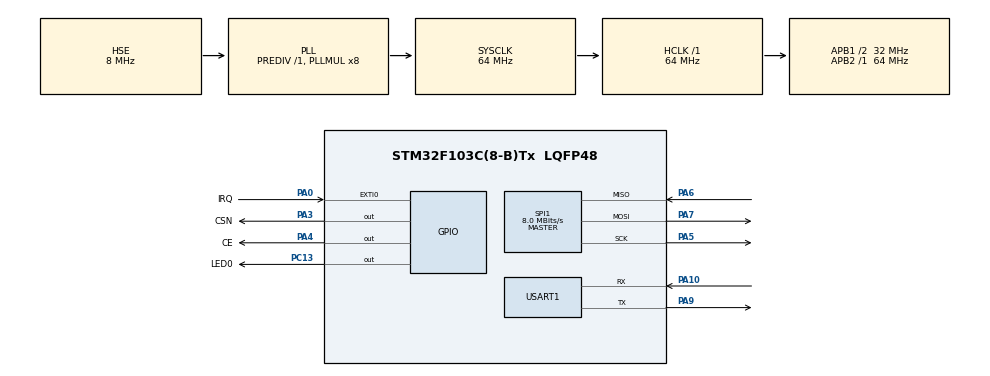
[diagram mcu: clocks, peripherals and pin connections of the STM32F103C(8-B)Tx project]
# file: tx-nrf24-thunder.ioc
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Mcu.Family=STM32F1
Mcu.Name=STM32F103C(8-B)Tx
Mcu.Package=LQFP48
NVIC.PriorityGroup=NVIC_PRIORITYGROUP_4
PA0-WKUP.GPIO_Label=IRQ
PA0-WKUP.GPIO_ModeDefaultEXTI=GPIO_MODE_IT_FALLING
PA0-WKUP.Signal=GPXTI0
PA10.Mode=Asynchronous
PA10.Signal=USART1_RX
PA3.GPIO_Label=CSN
PA3.Signal=GPIO_Output
PA4.GPIO_Label=CE
PA4.Signal=GPIO_Output
PA5.Mode=Full_Duplex_Master
PA5.Signal=SPI1_SCK
PA6.Mode=Full_Duplex_Master
PA6.Signal=SPI1_MISO
PA7.Mode=Full_Duplex_Master
PA7.Signal=SPI1_MOSI
PA9.Mode=Asynchronous
PA9.Signal=USART1_TX
PC13-TAMPER-RTC.GPIO_Label=LED0
PC13-TAMPER-RTC.Signal=GPIO_Output
PD0-OSC_IN.Mode=HSE-External-Oscillator
PD0-OSC_IN.Signal=RCC_OSC_IN
PD1-OSC_OUT.Mode=HSE-External-Oscillator
PD1-OSC_OUT.Signal=RCC_OSC_OUT
ProjectManager.HeapSize=0x200
ProjectManager.StackSize=0x400
ProjectManager.TargetToolchain=STM32CubeIDE
RCC.AHBFreq_Value=64000000
RCC.APB1CLKDivider=RCC_HCLK_DIV2
RCC.APB1Freq_Value=32000000
RCC.APB1TimFreq_Value=64000000
RCC.APB2Freq_Value=64000000
RCC.APB2TimFreq_Value=64000000
RCC.HCLKFreq_Value=64000000
RCC.PLLMUL=RCC_PLL_MUL8
RCC.PLLSourceVirtual=RCC_PLLSOURCE_HSE
RCC.SYSCLKFreq_VALUE=64000000
RCC.SYSCLKSource=RCC_SYSCLKSOURCE_PLLCLK
RCC.USBFreq_Value=64000000
SPI1.BaudRatePrescaler=SPI_BAUDRATEPRESCALER_8
SPI1.CalculateBaudRate=8.0 MBits/s
SPI1.Direction=SPI_DIRECTION_2LINES
SPI1.Mode=SPI_MODE_MASTER
SPI1.VirtualType=VM_MASTER
USART1.VirtualMode=VM_ASYNC
VP_SYS_VS_ND.Mode=No_Debug
board=custom

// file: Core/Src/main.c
/* USER CODE BEGIN Header */
/**
  ******************************************************************************
  * @file           : main.c
  * @brief          : Main program body
  ******************************************************************************
  * @attention
  *
  * Copyright (c) 2024 STMicroelectronics.
  * All rights reserved.
  *
  * This software is licensed under terms that can be found in the LICENSE file
  * in the root directory of this software component.
  * If no LICENSE file comes with this software, it is provided AS-IS.
  *
  ******************************************************************************
  */
/* USER CODE END Header */
#include "main.h"

/* USER CODE BEGIN Includes */
#include "rf24.h"

/* USER CODE END Includes */

SPI_HandleTypeDef hspi1;

UART_HandleTypeDef huart1;

void SystemClock_Config(void);
static void MX_GPIO_Init(void);
static void MX_SPI1_Init(void);
static void MX_USART1_UART_Init(void);

int main(void)
{

  /* MCU Configuration--------------------------------------------------------*/

  /* Reset of all peripherals, Initializes the Flash interface and the Systick. */
  HAL_Init();

  /* Configure the system clock */
  SystemClock_Config();

  /* Initialize all configured peripherals */
  MX_GPIO_Init();
  MX_SPI1_Init();
  MX_USART1_UART_Init();
  /* USER CODE BEGIN 2 */
  //rf24_delay(100);
  rf24_dev_t device; /* Module instance */
  rf24_dev_t* p_dev = &device; /* Pointer to module instance */

  /* Device config */

  /* Get default configuration */
  rf24_get_default_config(p_dev);

  /* The SPI2 was chosen in Cube */
  p_dev->platform_setup.hspi = &hspi1;

  /* CSN on pin PC6 */
  p_dev->platform_setup.csn_port = CSN_GPIO_Port;
  p_dev->platform_setup.csn_pin = CSN_Pin;

  /* IRQ on pin PC7 */
  p_dev->platform_setup.irq_port = IRQ_GPIO_Port;
  p_dev->platform_setup.irq_pin = IRQ_Pin;

  /* CE on pin PC8 */
  p_dev->platform_setup.ce_port = CE_GPIO_Port;
  p_dev->platform_setup.ce_pin = CE_Pin;

  p_dev->payload_size = 32;

  rf24_init(p_dev);

  uint8_t addresses[2][5] = {{0xE7, 0xE7, 0xE7, 0xE7, 0xE8}, {0xC2, 0xC2, 0xC2, 0xC2, 0xC1}};

  //No idea what output_power should be
  //rf24_set_output_power(p_dev, output_power);

  rf24_status_t device_status; /* Variable to receive the statuses returned by the functions */

  device_status = rf24_open_writing_pipe(p_dev, addresses[1]);
  device_status = rf24_open_reading_pipe(p_dev, 1, addresses[0]);

  uint8_t buffer[] = {'V', 'i', 'r', 't', 'u', 'a', 'l', ' ', 'h', 'u', 'g', 's', '!', ' ', 'F', 'a', 'c', 'a', ' ', 'o', ' ', 'L', ' ', 'i', 'm', 'e', 'd', 'i', 'a', 't', 'o', '\0'};
  /* USER CODE END 2 */

  /* Infinite loop */
  while (1)
  {

    /* USER CODE BEGIN 3 */

	  HAL_GPIO_TogglePin(LED0_GPIO_Port, LED0_Pin);
	  uint8_t tentei[32] = {"tentei!\n"};
	  device_status = rf24_write(p_dev, buffer, sizeof(buffer), true);
	  if(device_status == RF24_SUCCESS){
		  HAL_UART_Transmit(&huart1, buffer, sizeof(buffer), 10);
	  } else {
		  HAL_UART_Transmit(&huart1, tentei, sizeof(tentei), 10);
	  }
	  HAL_Delay(1000);
  }
  /* USER CODE END 3 */
}

void SystemClock_Config(void)
{
  RCC_OscInitTypeDef RCC_OscInitStruct = {0};
  RCC_ClkInitTypeDef RCC_ClkInitStruct = {0};

  /** Initializes the RCC Oscillators according to the specified parameters
  * in the RCC_OscInitTypeDef structure.
  */
  RCC_OscInitStruct.OscillatorType = RCC_OSCILLATORTYPE_HSE;
  RCC_OscInitStruct.HSEState = RCC_HSE_ON;
  RCC_OscInitStruct.HSEPredivValue = RCC_HSE_PREDIV_DIV1;
  RCC_OscInitStruct.HSIState = RCC_HSI_ON;
  RCC_OscInitStruct.PLL.PLLState = RCC_PLL_ON;
  RCC_OscInitStruct.PLL.PLLSource = RCC_PLLSOURCE_HSE;
  RCC_OscInitStruct.PLL.PLLMUL = RCC_PLL_MUL8;
  if (HAL_RCC_OscConfig(&RCC_OscInitStruct) != HAL_OK)
  {
    Error_Handler();
  }

  /** Initializes the CPU, AHB and APB buses clocks
  */
  RCC_ClkInitStruct.ClockType = RCC_CLOCKTYPE_HCLK|RCC_CLOCKTYPE_SYSCLK
                              |RCC_CLOCKTYPE_PCLK1|RCC_CLOCKTYPE_PCLK2;
  RCC_ClkInitStruct.SYSCLKSource = RCC_SYSCLKSOURCE_PLLCLK;
  RCC_ClkInitStruct.AHBCLKDivider = RCC_SYSCLK_DIV1;
  RCC_ClkInitStruct.APB1CLKDivider = RCC_HCLK_DIV2;
  RCC_ClkInitStruct.APB2CLKDivider = RCC_HCLK_DIV1;

  if (HAL_RCC_ClockConfig(&RCC_ClkInitStruct, FLASH_LATENCY_2) != HAL_OK)
  {
    Error_Handler();
  }
}

static void MX_SPI1_Init(void)
{

  /* SPI1 parameter configuration*/
  hspi1.Instance = SPI1;
  hspi1.Init.Mode = SPI_MODE_MASTER;
  hspi1.Init.Direction = SPI_DIRECTION_2LINES;
  hspi1.Init.DataSize = SPI_DATASIZE_8BIT;
  hspi1.Init.CLKPolarity = SPI_POLARITY_LOW;
  hspi1.Init.CLKPhase = SPI_PHASE_1EDGE;
  hspi1.Init.NSS = SPI_NSS_SOFT;
  hspi1.Init.BaudRatePrescaler = SPI_BAUDRATEPRESCALER_8;
  hspi1.Init.FirstBit = SPI_FIRSTBIT_MSB;
  hspi1.Init.TIMode = SPI_TIMODE_DISABLE;
  hspi1.Init.CRCCalculation = SPI_CRCCALCULATION_DISABLE;
  hspi1.Init.CRCPolynomial = 10;
  if (HAL_SPI_Init(&hspi1) != HAL_OK)
  {
    Error_Handler();
  }

}

static void MX_USART1_UART_Init(void)
{

  huart1.Instance = USART1;
  huart1.Init.BaudRate = 115200;
  huart1.Init.WordLength = UART_WORDLENGTH_8B;
  huart1.Init.StopBits = UART_STOPBITS_1;
  huart1.Init.Parity = UART_PARITY_NONE;
  huart1.Init.Mode = UART_MODE_TX_RX;
  huart1.Init.HwFlowCtl = UART_HWCONTROL_NONE;
  huart1.Init.OverSampling = UART_OVERSAMPLING_16;
  if (HAL_UART_Init(&huart1) != HAL_OK)
  {
    Error_Handler();
  }

}

static void MX_GPIO_Init(void)
{
  GPIO_InitTypeDef GPIO_InitStruct = {0};

  /* GPIO Ports Clock Enable */
  __HAL_RCC_GPIOC_CLK_ENABLE();
  __HAL_RCC_GPIOD_CLK_ENABLE();
  __HAL_RCC_GPIOA_CLK_ENABLE();

  /*Configure GPIO pin Output Level */
  HAL_GPIO_WritePin(LED0_GPIO_Port, LED0_Pin, GPIO_PIN_RESET);

  /*Configure GPIO pin Output Level */
  HAL_GPIO_WritePin(GPIOA, CSN_Pin|CE_Pin, GPIO_PIN_RESET);

  /*Configure GPIO pin : LED0_Pin */
  GPIO_InitStruct.Pin = LED0_Pin;
  GPIO_InitStruct.Mode = GPIO_MODE_OUTPUT_PP;
  GPIO_InitStruct.Pull = GPIO_NOPULL;
  GPIO_InitStruct.Speed = GPIO_SPEED_FREQ_LOW;
  HAL_GPIO_Init(LED0_GPIO_Port, &GPIO_InitStruct);

  /*Configure GPIO pin : IRQ_Pin */
  GPIO_InitStruct.Pin = IRQ_Pin;
  GPIO_InitStruct.Mode = GPIO_MODE_IT_FALLING;
  GPIO_InitStruct.Pull = GPIO_NOPULL;
  HAL_GPIO_Init(IRQ_GPIO_Port, &GPIO_InitStruct);

  /*Configure GPIO pins : CSN_Pin CE_Pin */
  GPIO_InitStruct.Pin = CSN_Pin|CE_Pin;
  GPIO_InitStruct.Mode = GPIO_MODE_OUTPUT_PP;
  GPIO_InitStruct.Pull = GPIO_NOPULL;
  GPIO_InitStruct.Speed = GPIO_SPEED_FREQ_LOW;
  HAL_GPIO_Init(GPIOA, &GPIO_InitStruct);

}

void Error_Handler(void)
{
  __disable_irq();
  while (1)
  {
  }
}
